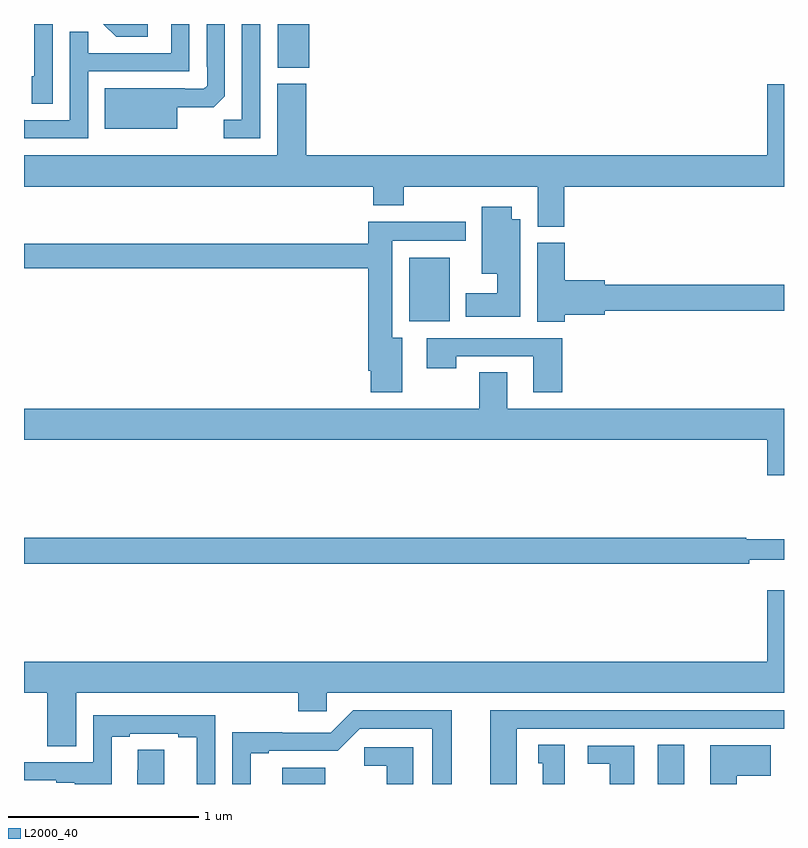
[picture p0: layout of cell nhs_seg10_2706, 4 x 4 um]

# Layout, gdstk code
import gdstk
lib = gdstk.Library(unit=1e-6, precision=1e-09)
def R(c, l, rs):  # rectangles x0, y0, x1, y1
    for r in rs: c.add(gdstk.rectangle(r[:2], r[2:], *l))
def P(c, l, *ps):  # polygons
    for p in ps: c.add(gdstk.Polygon(p, *l))
L2000_40 = (2000, 40)

nhs_seg10_2706 = lib.new_cell('nhs_seg10_2706')
R(nhs_seg10_2706, L2000_40, [(258.359,1302.5,258.586,1302.586), (260.336,1302.5,260.476,1302.707), (259.028,1304.936,259.24,1305.271), (258.335,1306.271,258.502,1306.5)])
P(nhs_seg10_2706, L2000_40, [(257.806,1306.061),(257.998,1306.061),(258.057,1306.12),(258.057,1306.5),(257.961,1306.5),(257.961,1306.276),(257.964,1306.276),(257.964,1306.176),(257.946,1306.158),(257.846,1306.158),(257.846,1306.162),(257.426,1306.162),(257.426,1305.95),(257.806,1305.95)],
  [(257.151,1306.5),(257.055,1306.5),(257.055,1306.224),(257.04,1306.224),(257.04,1306.081),(257.151,1306.081)],
  [(258.243,1306.5),(258.147,1306.5),(258.147,1305.995),(258.052,1305.995),(258.052,1305.9),(258.243,1305.9)],
  [(257.65,1306.5),(257.417,1306.5),(257.485,1306.432),(257.65,1306.432)],
  [(257.337,1306.251),(257.871,1306.251),(257.871,1306.5),(257.775,1306.5),(257.775,1306.347),(257.339,1306.347),(257.339,1306.46),(257.241,1306.46),(257.241,1305.993),(257.004,1305.993),(257,1305.997),(257,1305.9),(257.337,1305.9)],
  [(261,1306.183),(260.912,1306.183),(260.912,1305.808),(258.485,1305.808),(258.485,1306.186),(258.332,1306.186),(258.332,1305.808),(257,1305.808),(257,1305.644),(258.839,1305.644),(258.839,1305.545),(258.999,1305.545),(258.999,1305.644),(259.703,1305.644),(259.703,1305.433),(259.844,1305.433),(259.844,1305.644),(261,1305.644)],
  [(259.612,1305.472),(259.567,1305.472),(259.567,1305.538),(259.409,1305.538),(259.409,1305.185),(259.49,1305.185),(259.49,1305.082),(259.325,1305.082),(259.325,1304.96),(259.612,1304.96)],
  [(258.991,1304.848),(258.937,1304.848),(258.937,1305.36),(259.324,1305.36),(259.324,1305.458),(258.812,1305.458),(258.812,1305.343),(257,1305.343),(257,1305.214),(258.812,1305.214),(258.812,1304.674),(258.824,1304.674),(258.824,1304.562),(258.991,1304.562)],
  [(259.847,1304.969),(260.056,1304.969),(260.056,1304.992),(261,1304.992),(261,1305.128),(260.056,1305.128),(260.056,1305.152),(259.847,1305.152),(259.847,1305.348),(259.7,1305.348),(259.7,1304.932),(259.847,1304.932)],
  [(259.832,1304.847),(259.119,1304.847),(259.119,1304.688),(259.275,1304.688),(259.275,1304.751),(259.679,1304.751),(259.679,1304.562),(259.832,1304.562)],
  [(261,1304.476),(259.543,1304.476),(259.543,1304.666),(259.396,1304.666),(259.396,1304.476),(257,1304.476),(257,1304.312),(260.912,1304.312),(260.912,1304.124),(261,1304.124)],
  [(260.816,1303.679),(261,1303.679),(261,1303.789),(260.8,1303.789),(260.8,1303.796),(257,1303.796),(257,1303.66),(260.816,1303.66)],
  [(257.275,1302.98),(258.443,1302.98),(258.443,1302.882),(258.594,1302.882),(258.594,1302.98),(261,1302.98),(261,1303.519),(260.912,1303.519),(260.912,1303.144),(257,1303.144),(257,1302.98),(257.123,1302.98),(257.123,1302.7),(257.275,1302.7)],
  [(259.594,1302.792),(261,1302.792),(261,1302.888),(259.454,1302.888),(259.454,1302.5),(259.594,1302.5)],
  [(258.193,1302.663),(258.289,1302.663),(258.289,1302.675),(258.651,1302.675),(258.768,1302.792),(259.148,1302.792),(259.148,1302.5),(259.252,1302.5),(259.252,1302.888),(258.732,1302.888),(258.615,1302.771),(258.359,1302.771),(258.359,1302.773),(258.096,1302.773),(258.096,1302.5),(258.193,1302.5)],
  [(257.461,1302.75),(257.557,1302.75),(257.557,1302.765),(257.813,1302.765),(257.813,1302.745),(257.909,1302.745),(257.909,1302.5),(258.006,1302.5),(258.006,1302.861),(257.364,1302.861),(257.364,1302.615),(257,1302.615),(257,1302.519),(257.171,1302.519),(257.171,1302.507),(257.267,1302.507),(257.267,1302.5),(257.461,1302.5)],
  [(259.846,1302.707),(259.706,1302.707),(259.706,1302.609),(259.73,1302.609),(259.73,1302.5),(259.846,1302.5)],
  [(260.752,1302.544),(260.929,1302.544),(260.929,1302.703),(260.612,1302.703),(260.612,1302.5),(260.752,1302.5)],
  [(260.212,1302.702),(259.968,1302.702),(259.968,1302.606),(260.084,1302.606),(260.084,1302.5),(260.212,1302.5)],
  [(259.048,1302.693),(258.791,1302.693),(258.791,1302.596),(258.908,1302.596),(258.908,1302.5),(259.048,1302.5)],
  [(257.737,1302.68),(257.598,1302.68),(257.598,1302.572),(257.597,1302.572),(257.597,1302.5),(257.737,1302.5)])

lib.write_gds('nhs_seg10_2706.gds')
